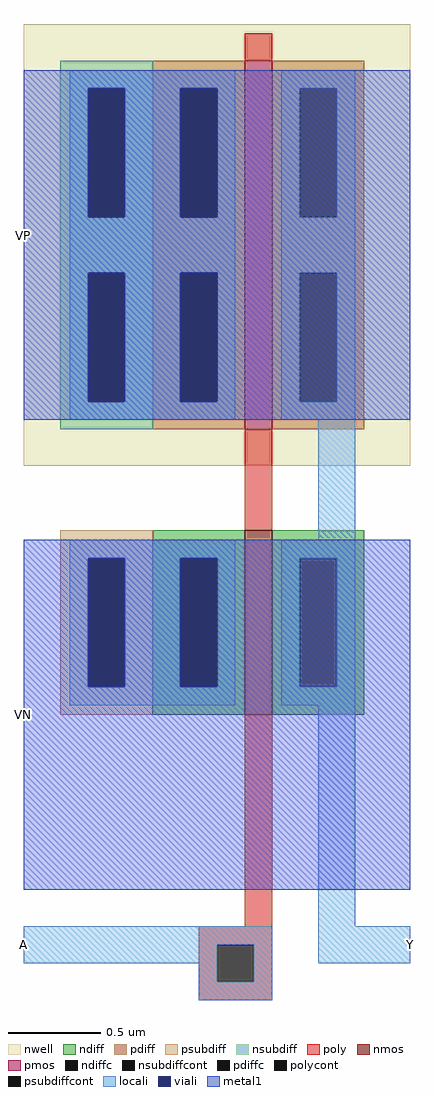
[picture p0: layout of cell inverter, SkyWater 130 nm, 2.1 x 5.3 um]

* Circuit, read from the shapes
.subckt inverter A Y VP VN
XM1 Y A VN VN sky130_fd_pr__nfet_01v8 w=1 l=0.15
XM2 Y A VP VP sky130_fd_pr__pfet_01v8 w=2 l=0.15
.ends

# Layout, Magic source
magic
tech sky130A
<< nwell >>
rect -125 135 85 375
<< nmos >>
rect -5 0 10 100
<< pmos >>
rect -5 155 10 355
<< ndiff >>
rect -55 85 -5 100
rect -55 15 -40 85
rect -20 15 -5 85
rect -55 0 -5 15
rect 10 85 60 100
rect 10 15 25 85
rect 45 15 60 85
rect 10 0 60 15
<< pdiff >>
rect -55 340 -5 355
rect -55 270 -40 340
rect -20 270 -5 340
rect -55 240 -5 270
rect -55 170 -40 240
rect -20 170 -5 240
rect -55 155 -5 170
rect 10 340 60 355
rect 10 270 25 340
rect 45 270 60 340
rect 10 240 60 270
rect 10 170 25 240
rect 45 170 60 240
rect 10 155 60 170
<< ndiffc >>
rect -40 15 -20 85
rect 25 15 45 85
<< pdiffc >>
rect -40 270 -20 340
rect -40 170 -20 240
rect 25 270 45 340
rect 25 170 45 240
<< psubdiff >>
rect -105 85 -55 100
rect -105 15 -90 85
rect -70 15 -55 85
rect -105 0 -55 15
<< nsubdiff >>
rect -105 340 -55 355
rect -105 270 -90 340
rect -70 270 -55 340
rect -105 240 -55 270
rect -105 170 -90 240
rect -70 170 -55 240
rect -105 155 -55 170
<< psubdiffcont >>
rect -90 15 -70 85
<< nsubdiffcont >>
rect -90 270 -70 340
rect -90 170 -70 240
<< poly >>
rect -5 355 10 370
rect -5 100 10 155
rect -5 -115 10 0
rect -30 -125 10 -115
rect -30 -145 -20 -125
rect 0 -145 10 -125
rect -30 -155 10 -145
<< polycont >>
rect -20 -145 0 -125
<< locali >>
rect -100 340 -10 350
rect -100 270 -90 340
rect -70 270 -40 340
rect -20 270 -10 340
rect -100 240 -10 270
rect -100 170 -90 240
rect -70 170 -40 240
rect -20 170 -10 240
rect -100 160 -10 170
rect 15 340 55 350
rect 15 270 25 340
rect 45 270 55 340
rect 15 240 55 270
rect 15 170 25 240
rect 45 170 55 240
rect 15 160 55 170
rect 35 95 55 160
rect -100 85 -10 95
rect -100 15 -90 85
rect -70 15 -40 85
rect -20 15 -10 85
rect -100 5 -10 15
rect 15 85 55 95
rect 15 15 25 85
rect 45 15 55 85
rect 15 5 55 15
rect 35 -115 55 5
rect -125 -125 10 -115
rect -125 -135 -20 -125
rect -30 -145 -20 -135
rect 0 -145 10 -125
rect 35 -135 85 -115
rect -30 -155 10 -145
<< viali >>
rect -90 270 -70 340
rect -40 270 -20 340
rect -90 170 -70 240
rect -40 170 -20 240
rect -90 15 -70 85
rect -40 15 -20 85
<< metal1 >>
rect -125 340 85 350
rect -125 270 -90 340
rect -70 270 -40 340
rect -20 270 85 340
rect -125 240 85 270
rect -125 170 -90 240
rect -70 170 -40 240
rect -20 170 85 240
rect -125 160 85 170
rect -125 85 85 95
rect -125 15 -90 85
rect -70 15 -40 85
rect -20 15 85 85
rect -125 -95 85 15
<< labels >>
rlabel metal1 -125 260 -125 260 7 VP
port 3 w
rlabel locali -125 -125 -125 -125 7 A
port 1 w
rlabel locali 85 -125 85 -125 3 Y
port 2 e
rlabel metal1 -125 0 -125 0 7 VN
port 4 w
<< end >>
